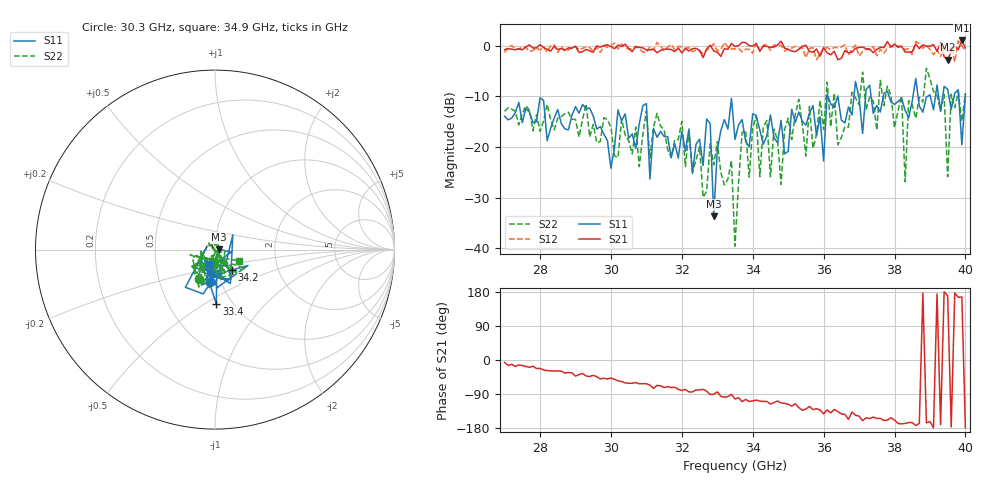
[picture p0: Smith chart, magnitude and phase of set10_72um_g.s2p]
! Quiescent point : V1=-1.64890E-02 I1=+1.35884E-03 V2=-2.38210E-02 I2=-1.35982E-03
! Pulsed point : V1=-1.70336E-02 I1=+1.35366E-03 V2=-2.39701E-02 I2=-1.38304E-03
! Period : +2.00000E-04
! Input Supply timing : delay=+1.60000E-06 width=+2.20000E-06
! Output Supply timing : delay=+1.70000E-06 width=+2.00000E-06
! VNA timing : delay=+2.40000E-06 width=+1.10000E-06
# Hz S RI R 50
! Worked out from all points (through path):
!   131 points, 27 GHz to 40 GHz, reference 50 ohm
!   highest |S21| = 1.03 dB at 39.9 GHz (marker M1); lowest = -2.8 dB at 39.5 GHz (marker M2)
!   group delay of S21, straight-line fit = 38.4 ps
!   lowest |S11| = -33.7 dB at 32.9 GHz (marker M3), VSWR 1.04, Z = 52.1 + j0.249 ohm
!   |S11| at or under -10 dB: start of sweep to 36.1 GHz; 36.4 GHz to 36.86 GHz (454.7 MHz wide, 1.24 % of centre); 37.85 GHz to 38.52 GHz (674.9 MHz wide, 1.77 % of centre)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
!   |S22| runs from -39.6 to -4.5 dB; largest |S21 - S12| = 0.38
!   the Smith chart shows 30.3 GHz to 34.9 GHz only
!   S11 on the Smith chart (normalised r, x): 30.3 GHz: 0.89, -0.33; 33.4 GHz: 0.84, -0.56; 34.2 GHz: 1.17, -0.27; 34.9 GHz: 0.92, -0.14
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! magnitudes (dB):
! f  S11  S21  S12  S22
! 27 GHz  -13.9  -0.8  -1.4  -13.0
! 29.2 GHz  -11.6  -1.2  -0.5  -14.5
! 30.3 GHz  -14.8  -0.2  0.3  -14.6
! 31.4 GHz  -16.9  -0.9  -0.1  -15.9
! 32.8 GHz  -15.4  0.1  -0.4  -19.4
! 32.9 GHz  -33.7  -1.1  0.4  -23.5
! 33.4 GHz  -10.4  0.4  -0.7  -22.7
! 33.5 GHz  -18.5  -0.2  -0.6  -39.6
! 33.7 GHz  -14.6  0.6  -1.2  -17.1
! 34.2 GHz  -16.6  -1.1  -1.0  -25.9
! 34.9 GHz  -21.4  -0.5  -1.1  -16.5
! 35.7 GHz  -11.8  -1.3  -0.4  -20.2
! 37.9 GHz  -11.1  -0.3  -0.1  -9.8
! 38.2 GHz  -10.5  -0.1  -0.2  -9.9
! 38.3 GHz  -12.8  -1.3  -0.8  -26.9
! 38.4 GHz  -14.2  -1.3  -0.6  -10.9
! 38.9 GHz  -10.2  -0.1  0.0  -4.5
! 39.4 GHz  -8.1  -2.2  -0.4  -9.6
! 39.5 GHz  -8.6  -2.8  -1.3  -25.9
! 39.6 GHz  -12.6  -1.1  -0.2  -9.6
! 39.9 GHz  -19.6  1.0  0.0  -14.9
! 40 GHz  -9.6  -0.5  -1.1  -9.4
